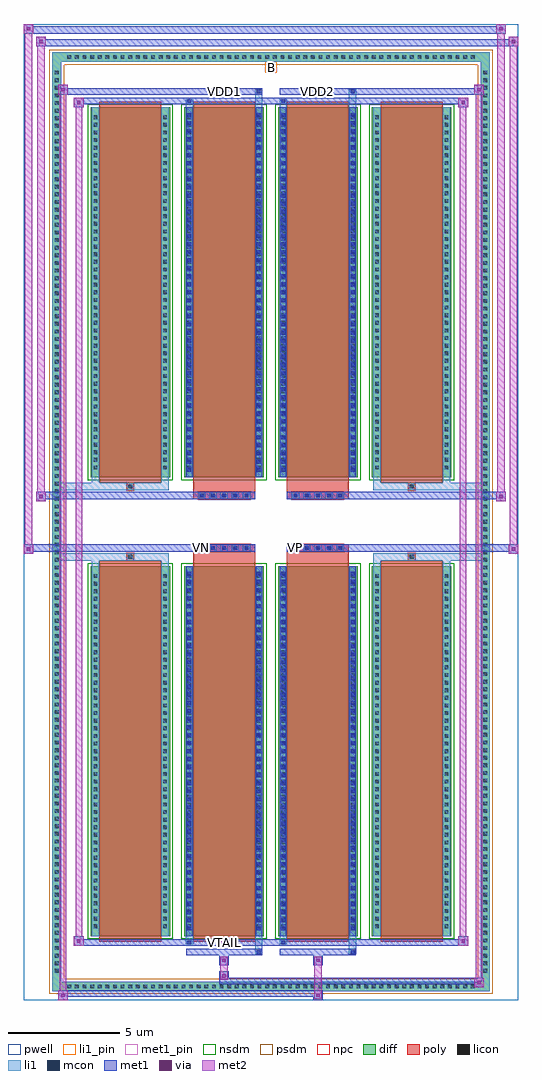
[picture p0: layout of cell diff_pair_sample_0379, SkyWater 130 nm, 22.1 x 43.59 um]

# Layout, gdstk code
import gdstk
lib = gdstk.Library(unit=1e-6, precision=5e-09)
def R(c, l, rs):  # rectangles x0, y0, x1, y1
    for r in rs: c.add(gdstk.rectangle(r[:2], r[2:], *l))
def A(c, l, x, y, w, h, nx, ny, dx, dy):  # array of equal rectangles
    R(c, l, [(x+i*dx, y+j*dy, x+i*dx+w, y+j*dy+h) for i in range(nx) for j in range(ny)])
def P(c, l, *ps):  # polygons
    for p in ps: c.add(gdstk.Polygon(p, *l))
pwell = (64, 44)
diff = (65, 20)
poly = (66, 20)
licon = (66, 44)
li1_pin = (67, 16)
li1 = (67, 20)
mcon = (67, 44)
met1_pin = (68, 16)
met1 = (68, 20)
via = (68, 44)
met2 = (69, 20)
nsdm = (93, 44)
psdm = (94, 20)
npc = (95, 20)

diff_pair_sample_0379 = lib.new_cell('diff_pair_sample_0379')
R(diff_pair_sample_0379, pwell, [(-11.05,-21.36,11.05,22.23), (-8.37,-19.55,-0.01,-0.805), (0.01,-19.55,8.37,-0.805), (-8.37,0.805,-0.01,19.55), (0.01,0.805,8.37,19.55)])
A(diff_pair_sample_0379, diff, -9.215, -20.96, 0.41, 0.41, 54, 2, 0.34, 41.51)
A(diff_pair_sample_0379, diff, -9.78, -20.265, 0.41, 0.41, 1, 119, 0, 0.34)
A(diff_pair_sample_0379, diff, 9.37, -20.265, 0.41, 0.41, 1, 119, 0, 0.34)
A(diff_pair_sample_0379, diff, -8.06, -18.505, 3.55, 16.52, 4, 2, 4.19, 20.49)
R(diff_pair_sample_0379, diff, [(-9.215,-20.96,9.215,-20.55), (-9.78,-20.265,-9.37,20.265), (9.37,-20.265,9.78,20.265), (-9.215,20.55,9.215,20.96)])
P(diff_pair_sample_0379, diff, [(9.78,20.96),(-9.78,20.96),(-9.78,-20.55),(-9.37,-20.55),(-9.37,20.55),(9.37,20.55),(9.37,-20.55),(-9.37,-20.55),(-9.78,-20.55),(-9.78,-20.96),(9.78,-20.96)])
A(diff_pair_sample_0379, poly, -7.67, -18.755, 2.77, 17.02, 4, 2, 4.19, 20.49)
A(diff_pair_sample_0379, poly, -3.26, -1.335, 0.33, 0.33, 5, 2, 0.5, 2.34)
A(diff_pair_sample_0379, poly, 0.93, -1.335, 0.33, 0.33, 5, 2, 0.5, 2.34)
R(diff_pair_sample_0379, poly, [(-6.45,-1.735,-6.12,-1.405), (-6.45,-1.735,-6.12,-1.405), (-3.48,-1.735,-0.71,-1.335), (0.71,-1.735,3.48,-1.335), (6.12,-1.735,6.45,-1.405), (6.12,-1.735,6.45,-1.405), (-3.48,-1.335,-0.71,-1.005), (0.71,-1.335,3.48,-1.005), (-3.48,1.005,-0.71,1.335), (0.71,1.005,3.48,1.335), (-3.48,1.335,-0.71,1.735), (0.71,1.335,3.48,1.735), (-6.45,1.405,-6.12,1.735), (-6.45,1.405,-6.12,1.735), (6.12,1.405,6.45,1.735), (6.12,1.405,6.45,1.735)])
A(diff_pair_sample_0379, licon, -9.095, -20.84, 0.17, 0.17, 54, 2, 0.34, 41.51)
A(diff_pair_sample_0379, licon, -9.66, -20.145, 0.17, 0.17, 1, 119, 0, 0.34)
A(diff_pair_sample_0379, licon, 9.49, -20.145, 0.17, 0.17, 1, 119, 0, 0.34)
A(diff_pair_sample_0379, licon, -7.92, -18.15, 0.17, 0.17, 1, 47, 0, 0.34)
A(diff_pair_sample_0379, licon, -4.82, -18.15, 0.17, 0.17, 1, 47, 0, 0.34)
A(diff_pair_sample_0379, licon, -3.73, -18.15, 0.17, 0.17, 1, 47, 0, 0.34)
A(diff_pair_sample_0379, licon, -0.63, -18.15, 0.17, 0.17, 1, 47, 0, 0.34)
A(diff_pair_sample_0379, licon, 0.46, -18.15, 0.17, 0.17, 1, 47, 0, 0.34)
A(diff_pair_sample_0379, licon, 3.56, -18.15, 0.17, 0.17, 1, 47, 0, 0.34)
A(diff_pair_sample_0379, licon, 4.65, -18.15, 0.17, 0.17, 1, 47, 0, 0.34)
A(diff_pair_sample_0379, licon, 7.75, -18.15, 0.17, 0.17, 1, 47, 0, 0.34)
A(diff_pair_sample_0379, licon, -3.18, -1.255, 0.17, 0.17, 5, 2, 0.5, 2.34)
A(diff_pair_sample_0379, licon, 1.01, -1.255, 0.17, 0.17, 5, 2, 0.5, 2.34)
A(diff_pair_sample_0379, licon, -7.92, 2.34, 0.17, 0.17, 1, 47, 0, 0.34)
A(diff_pair_sample_0379, licon, -4.82, 2.34, 0.17, 0.17, 1, 47, 0, 0.34)
A(diff_pair_sample_0379, licon, -3.73, 2.34, 0.17, 0.17, 1, 47, 0, 0.34)
A(diff_pair_sample_0379, licon, -0.63, 2.34, 0.17, 0.17, 1, 47, 0, 0.34)
A(diff_pair_sample_0379, licon, 0.46, 2.34, 0.17, 0.17, 1, 47, 0, 0.34)
A(diff_pair_sample_0379, licon, 3.56, 2.34, 0.17, 0.17, 1, 47, 0, 0.34)
A(diff_pair_sample_0379, licon, 4.65, 2.34, 0.17, 0.17, 1, 47, 0, 0.34)
A(diff_pair_sample_0379, licon, 7.75, 2.34, 0.17, 0.17, 1, 47, 0, 0.34)
R(diff_pair_sample_0379, licon, [(-6.37,-1.655,-6.2,-1.485), (6.2,-1.655,6.37,-1.485), (-6.37,1.485,-6.2,1.655), (6.2,1.485,6.37,1.655)])
R(diff_pair_sample_0379, li1_pin, [(-0.25,20.05,0.25,20.55)])
A(diff_pair_sample_0379, li1, -9.175, -20.92, 0.33, 0.33, 54, 2, 0.34, 41.51)
A(diff_pair_sample_0379, li1, -9.74, -20.225, 0.33, 0.33, 1, 119, 0, 0.34)
A(diff_pair_sample_0379, li1, 9.41, -20.225, 0.33, 0.33, 1, 119, 0, 0.34)
A(diff_pair_sample_0379, li1, -3.73, -18.25, 0.17, 0.17, 1, 45, 0, 0.36)
A(diff_pair_sample_0379, li1, -0.63, -18.25, 0.17, 0.17, 1, 45, 0, 0.36)
A(diff_pair_sample_0379, li1, 0.46, -18.25, 0.17, 0.17, 1, 45, 0, 0.36)
A(diff_pair_sample_0379, li1, 3.56, -18.25, 0.17, 0.17, 1, 45, 0, 0.36)
A(diff_pair_sample_0379, li1, -8, -18.23, 0.33, 0.33, 1, 47, 0, 0.34)
A(diff_pair_sample_0379, li1, -4.9, -18.23, 0.33, 0.33, 1, 47, 0, 0.34)
A(diff_pair_sample_0379, li1, -3.81, -18.23, 0.33, 0.33, 1, 47, 0, 0.34)
A(diff_pair_sample_0379, li1, -0.71, -18.23, 0.33, 0.33, 1, 47, 0, 0.34)
A(diff_pair_sample_0379, li1, 0.38, -18.23, 0.33, 0.33, 1, 47, 0, 0.34)
A(diff_pair_sample_0379, li1, 3.48, -18.23, 0.33, 0.33, 1, 47, 0, 0.34)
A(diff_pair_sample_0379, li1, 4.57, -18.23, 0.33, 0.33, 1, 47, 0, 0.34)
A(diff_pair_sample_0379, li1, 7.67, -18.23, 0.33, 0.33, 1, 47, 0, 0.34)
A(diff_pair_sample_0379, li1, -3.26, -1.335, 0.33, 0.33, 5, 2, 0.5, 2.34)
A(diff_pair_sample_0379, li1, 0.93, -1.335, 0.33, 0.33, 5, 2, 0.5, 2.34)
A(diff_pair_sample_0379, li1, -3.73, 2.24, 0.17, 0.17, 1, 45, 0, 0.36)
A(diff_pair_sample_0379, li1, -0.63, 2.24, 0.17, 0.17, 1, 45, 0, 0.36)
A(diff_pair_sample_0379, li1, 0.46, 2.24, 0.17, 0.17, 1, 45, 0, 0.36)
A(diff_pair_sample_0379, li1, 3.56, 2.24, 0.17, 0.17, 1, 45, 0, 0.36)
A(diff_pair_sample_0379, li1, -8, 2.26, 0.33, 0.33, 1, 47, 0, 0.34)
A(diff_pair_sample_0379, li1, -4.9, 2.26, 0.33, 0.33, 1, 47, 0, 0.34)
A(diff_pair_sample_0379, li1, -3.81, 2.26, 0.33, 0.33, 1, 47, 0, 0.34)
A(diff_pair_sample_0379, li1, -0.71, 2.26, 0.33, 0.33, 1, 47, 0, 0.34)
A(diff_pair_sample_0379, li1, 0.38, 2.26, 0.33, 0.33, 1, 47, 0, 0.34)
A(diff_pair_sample_0379, li1, 3.48, 2.26, 0.33, 0.33, 1, 47, 0, 0.34)
A(diff_pair_sample_0379, li1, 4.57, 2.26, 0.33, 0.33, 1, 47, 0, 0.34)
A(diff_pair_sample_0379, li1, 7.67, 2.26, 0.33, 0.33, 1, 47, 0, 0.34)
R(diff_pair_sample_0379, li1, [(-9.78,-20.96,-9.37,-20.55), (-9.78,-20.96,-9.37,-20.55), (-9.37,-20.96,9.37,-20.55), (9.37,-20.96,9.78,-20.55), (9.37,-20.96,9.78,-20.55), (-9.78,-20.55,-9.37,20.55), (9.37,-20.55,9.78,20.55), (-0.71,-19.31,-0.38,-18.505), (-0.63,-19.31,-0.46,-19.14), (3.48,-19.31,3.81,-18.505), (3.56,-19.31,3.73,-19.14), (-3.81,-18.88,-3.48,-18.505), (-3.73,-18.88,-3.56,-18.71), (0.38,-18.88,0.71,-18.505), (0.46,-18.88,0.63,-18.71), (-8,-18.505,-7.67,-1.985), (-4.9,-18.505,-4.57,-1.985), (-3.81,-18.505,-3.48,-1.985), (-0.71,-18.505,-0.38,-1.985), (0.38,-18.505,0.71,-1.985), (3.48,-18.505,3.81,-1.985), (4.57,-18.505,4.9,-1.985), (7.67,-18.505,8,-1.985), (-3.73,-18.25,-3.56,-2.24), (-0.63,-18.25,-0.46,-2.24), (0.46,-18.25,0.63,-2.24), (3.56,-18.25,3.73,-2.24), (-8,-1.985,-7.67,-1.405), (-4.9,-1.985,-4.57,-1.405), (4.57,-1.985,4.9,-1.405), (7.67,-1.985,8,-1.405), (-9.78,-1.735,-6.45,-1.405), (-8,-1.735,-6.45,-1.405), (-6.45,-1.735,-6.12,-1.405), (-6.12,-1.735,-4.57,-1.405), (4.57,-1.735,6.12,-1.405), (6.12,-1.735,6.45,-1.405), (6.12,-1.735,9.78,-1.405), (6.45,-1.735,8,-1.405), (-9.78,1.405,-6.45,1.735), (-8,1.405,-6.45,1.735), (-8,1.405,-7.67,1.985), (-6.45,1.405,-6.12,1.735), (-6.12,1.405,-4.57,1.735), (-4.9,1.405,-4.57,1.985), (4.57,1.405,6.12,1.735), (4.57,1.405,4.9,1.985), (6.12,1.405,6.45,1.735), (6.12,1.405,9.78,1.735), (6.45,1.405,8,1.735), (7.67,1.405,8,1.985), (-8,1.985,-7.67,18.505), (-4.9,1.985,-4.57,18.505), (-3.81,1.985,-3.48,18.505), (-0.71,1.985,-0.38,18.505), (0.38,1.985,0.71,18.505), (3.48,1.985,3.81,18.505), (4.57,1.985,4.9,18.505), (7.67,1.985,8,18.505), (-3.73,2.24,-3.56,18.25), (-0.63,2.24,-0.46,18.25), (0.46,2.24,0.63,18.25), (3.56,2.24,3.73,18.25), (-3.81,18.505,-3.48,18.88), (-0.71,18.505,-0.38,19.31), (0.38,18.505,0.71,18.88), (3.48,18.505,3.81,19.31), (-3.73,18.71,-3.56,18.88), (0.46,18.71,0.63,18.88), (-0.63,19.14,-0.46,19.31), (3.56,19.14,3.73,19.31), (-9.78,20.55,-9.37,20.96), (-9.78,20.55,-9.37,20.96), (-9.37,20.55,9.37,20.96), (9.37,20.55,9.78,20.96), (9.37,20.55,9.78,20.96)])
A(diff_pair_sample_0379, mcon, -3.73, -18.25, 0.17, 0.17, 1, 45, 0, 0.36)
A(diff_pair_sample_0379, mcon, -0.63, -18.25, 0.17, 0.17, 1, 45, 0, 0.36)
A(diff_pair_sample_0379, mcon, 0.46, -18.25, 0.17, 0.17, 1, 45, 0, 0.36)
A(diff_pair_sample_0379, mcon, 3.56, -18.25, 0.17, 0.17, 1, 45, 0, 0.36)
A(diff_pair_sample_0379, mcon, -3.18, -1.255, 0.17, 0.17, 5, 2, 0.5, 2.34)
A(diff_pair_sample_0379, mcon, 1.01, -1.255, 0.17, 0.17, 5, 2, 0.5, 2.34)
A(diff_pair_sample_0379, mcon, -3.73, 2.24, 0.17, 0.17, 1, 45, 0, 0.36)
A(diff_pair_sample_0379, mcon, -0.63, 2.24, 0.17, 0.17, 1, 45, 0, 0.36)
A(diff_pair_sample_0379, mcon, 0.46, 2.24, 0.17, 0.17, 1, 45, 0, 0.36)
A(diff_pair_sample_0379, mcon, 3.56, 2.24, 0.17, 0.17, 1, 45, 0, 0.36)
R(diff_pair_sample_0379, mcon, [(-0.63,-19.31,-0.46,-19.14), (3.56,-19.31,3.73,-19.14), (-3.73,-18.88,-3.56,-18.71), (0.46,-18.88,0.63,-18.71), (-3.73,18.71,-3.56,18.88), (0.46,18.71,0.63,18.88), (-0.63,19.14,-0.46,19.31), (3.56,19.14,3.73,19.31)])
R(diff_pair_sample_0379, met1_pin, [(-2.23,-18.92,-1.96,-18.65), (-3.23,-1.295,-2.96,-1.025), (0.96,-1.295,1.23,-1.025), (-2.23,19.1,-1.96,19.37), (1.96,19.1,2.23,19.37)])
A(diff_pair_sample_0379, met1, -3.79, -18.31, 0.29, 0.29, 1, 45, 0, 0.36)
A(diff_pair_sample_0379, met1, -0.69, -18.31, 0.29, 0.29, 1, 45, 0, 0.36)
A(diff_pair_sample_0379, met1, 0.4, -18.31, 0.29, 0.29, 1, 45, 0, 0.36)
A(diff_pair_sample_0379, met1, 3.5, -18.31, 0.29, 0.29, 1, 45, 0, 0.36)
A(diff_pair_sample_0379, met1, -3.24, -1.315, 0.29, 0.29, 5, 2, 0.5, 2.34)
A(diff_pair_sample_0379, met1, 0.95, -1.315, 0.29, 0.29, 5, 2, 0.5, 2.34)
A(diff_pair_sample_0379, met1, -3.79, 2.18, 0.29, 0.29, 1, 45, 0, 0.36)
A(diff_pair_sample_0379, met1, -0.69, 2.18, 0.29, 0.29, 1, 45, 0, 0.36)
A(diff_pair_sample_0379, met1, 0.4, 2.18, 0.29, 0.29, 1, 45, 0, 0.36)
A(diff_pair_sample_0379, met1, 3.5, 2.18, 0.29, 0.29, 1, 45, 0, 0.36)
R(diff_pair_sample_0379, met1, [(-9.51,-21.36,-9.08,-20.93), (1.88,-21.36,2.31,-20.93), (-9.51,-21.22,2.31,-20.93), (9.08,-20.79,9.51,-20.36), (-2.31,-20.65,9.51,-20.36), (-2.31,-20.51,-1.88,-20.08), (-2.31,-19.8,-1.88,-19.37), (1.88,-19.8,2.31,-19.37), (-3.79,-19.37,-0.4,-19.08), (-0.69,-19.37,-0.4,-19.08), (0.4,-19.37,3.79,-19.08), (3.5,-19.37,3.79,-19.08), (-8.8,-18.94,-8.37,-18.51), (-8.8,-18.94,-3.79,-18.65), (-3.79,-18.94,-3.5,-18.65), (-3.79,-18.94,-0.4,-18.65), (-0.4,-18.94,0.4,-18.65), (0.4,-18.94,0.69,-18.65), (0.4,-18.94,3.79,-18.65), (3.79,-18.94,8.8,-18.65), (8.37,-18.94,8.8,-18.51), (-3.79,-18.505,-3.5,-1.985), (-0.69,-18.505,-0.4,-1.985), (0.4,-18.505,0.69,-1.985), (3.5,-18.505,3.79,-1.985), (-11.05,-1.435,-10.62,-1.005), (10.62,-1.435,11.05,-1.005), (-11.05,-1.335,-0.71,-1.005), (-3.48,-1.335,-0.71,-1.005), (0.71,-1.335,3.48,-1.005), (0.71,-1.335,11.05,-1.005), (-10.48,0.905,-10.05,1.335), (10.05,0.905,10.48,1.335), (-10.48,1.005,-3.48,1.335), (-3.48,1.005,-0.71,1.335), (0.71,1.005,3.48,1.335), (3.48,1.005,10.48,1.335), (-3.79,1.985,-3.5,18.505), (-0.69,1.985,-0.4,18.505), (0.4,1.985,0.69,18.505), (3.5,1.985,3.79,18.505), (-8.8,18.51,-8.37,18.94), (8.37,18.51,8.8,18.94), (-8.8,18.65,-3.79,18.94), (-3.79,18.65,-3.5,18.94), (-3.79,18.65,-0.4,18.94), (-0.4,18.65,0.4,18.94), (0.4,18.65,0.69,18.94), (0.4,18.65,3.79,18.94), (3.79,18.65,8.8,18.94), (-9.51,19.08,-9.08,19.51), (-9.51,19.08,-3.79,19.37), (-3.79,19.08,-0.4,19.37), (-0.69,19.08,-0.4,19.37), (0.4,19.08,3.79,19.37), (3.5,19.08,3.79,19.37), (3.79,19.08,9.51,19.37), (9.08,19.08,9.51,19.51), (-10.48,21.23,-10.05,21.66), (-10.48,21.23,-8.37,21.56), (-8.37,21.23,8.37,21.56), (8.37,21.23,11.05,21.56), (10.62,21.23,11.05,21.66), (-11.05,21.8,-10.62,22.23), (-11.05,21.8,-8.37,22.13), (-8.37,21.8,8.37,22.13), (8.37,21.8,10.48,22.13), (10.05,21.8,10.48,22.23)])
R(diff_pair_sample_0379, via, [(-9.37,-21.22,-9.22,-21.07), (2.02,-21.22,2.17,-21.07), (9.22,-20.65,9.37,-20.5), (-2.17,-20.37,-2.02,-20.22), (-2.17,-19.66,-2.02,-19.51), (2.02,-19.66,2.17,-19.51), (-8.66,-18.8,-8.51,-18.65), (8.51,-18.8,8.66,-18.65), (-10.91,-1.295,-10.76,-1.145), (10.76,-1.295,10.91,-1.145), (-10.34,1.045,-10.19,1.195), (10.19,1.045,10.34,1.195), (-8.66,18.65,-8.51,18.8), (8.51,18.65,8.66,18.8), (-9.37,19.22,-9.22,19.37), (9.22,19.22,9.37,19.37), (-10.34,21.37,-10.19,21.52), (10.76,21.37,10.91,21.52), (-10.91,21.94,-10.76,22.09), (10.19,21.94,10.34,22.09)])
R(diff_pair_sample_0379, met2, [(-9.51,-21.36,-9.08,-20.93), (-9.44,-21.36,-9.15,19.51), (-9.15,-21.36,-9.08,-20.93), (-9.46,-21.31,-9.13,-20.98), (1.93,-21.31,2.26,-20.98), (1.93,-20.98,2.26,-19.75), (9.08,-20.79,9.51,-20.36), (9.15,-20.79,9.44,19.51), (9.44,-20.79,9.51,-20.36), (9.13,-20.74,9.46,-20.41), (-2.26,-20.46,-1.93,-20.13), (-2.26,-20.13,-1.93,-19.75), (-2.26,-19.75,-1.93,-19.42), (1.93,-19.75,2.26,-19.42), (-8.8,-18.94,-8.37,-18.51), (-8.73,-18.94,-8.44,18.94), (-8.44,-18.94,-8.37,-18.51), (8.37,-18.94,8.8,-18.51), (8.44,-18.94,8.73,18.94), (8.73,-18.94,8.8,-18.51), (-8.75,-18.89,-8.42,-18.56), (8.42,-18.89,8.75,-18.56), (-11.05,-1.435,-10.62,-1.005), (-11,-1.435,-10.67,22.23), (-10.67,-1.435,-10.62,-1.005), (10.62,-1.435,11.05,-1.005), (10.67,-1.435,11,21.66), (11,-1.435,11.05,-1.005), (-11,-1.385,-10.67,-1.055), (10.67,-1.385,11,-1.055), (-10.48,0.905,-10.05,1.335), (-10.43,0.905,-10.1,21.66), (-10.1,0.905,-10.05,1.335), (10.05,0.905,10.48,1.335), (10.1,0.905,10.43,22.23), (10.43,0.905,10.48,1.335), (-10.43,0.955,-10.1,1.285), (10.1,0.955,10.43,1.285), (-8.8,18.51,-8.37,18.94), (-8.44,18.51,-8.37,18.94), (8.37,18.51,8.8,18.94), (8.73,18.51,8.8,18.94), (-8.75,18.56,-8.42,18.89), (8.42,18.56,8.75,18.89), (-9.51,19.08,-9.08,19.51), (-9.15,19.08,-9.08,19.51), (9.08,19.08,9.51,19.51), (9.44,19.08,9.51,19.51), (-9.46,19.13,-9.13,19.46), (9.13,19.13,9.46,19.46), (-10.48,21.23,-10.05,21.66), (-10.1,21.23,-10.05,21.66), (10.62,21.23,11.05,21.66), (11,21.23,11.05,21.66), (-10.43,21.28,-10.1,21.61), (10.67,21.28,11,21.61), (-11.05,21.8,-10.62,22.23), (-10.67,21.8,-10.62,22.23), (10.05,21.8,10.48,22.23), (10.43,21.8,10.48,22.23), (-11,21.85,-10.67,22.18), (10.1,21.85,10.43,22.18)])
A(diff_pair_sample_0379, nsdm, -8.19, -18.635, 3.81, 16.78, 4, 2, 4.19, 20.49)
P(diff_pair_sample_0379, psdm, [(9.91,21.09),(-9.91,21.09),(-9.91,-20.42),(-9.24,-20.42),(-9.24,20.42),(9.24,20.42),(9.24,-20.42),(-9.24,-20.42),(-9.91,-20.42),(-9.91,-21.09),(9.91,-21.09)])
A(diff_pair_sample_0379, npc, -3.28, -1.355, 0.37, 0.37, 5, 2, 0.5, 2.34)
A(diff_pair_sample_0379, npc, 0.91, -1.355, 0.37, 0.37, 5, 2, 0.5, 2.34)
R(diff_pair_sample_0379, npc, [(-6.47,-1.755,-6.1,-1.385), (6.1,-1.755,6.47,-1.385), (-3.28,-1.355,-2.41,-0.985), (-3.28,-1.355,-2.41,-0.985), (-2.78,-1.355,-1.91,-0.985), (-2.78,-1.355,-1.91,-0.985), (-2.28,-1.355,-1.41,-0.985), (-2.28,-1.355,-1.41,-0.985), (-1.78,-1.355,-0.91,-0.985), (-1.78,-1.355,-0.91,-0.985), (0.91,-1.355,1.78,-0.985), (0.91,-1.355,1.78,-0.985), (1.41,-1.355,2.28,-0.985), (1.41,-1.355,2.28,-0.985), (1.91,-1.355,2.78,-0.985), (1.91,-1.355,2.78,-0.985), (2.41,-1.355,3.28,-0.985), (2.41,-1.355,3.28,-0.985), (-3.28,0.985,-2.41,1.355), (-3.28,0.985,-2.41,1.355), (-2.78,0.985,-1.91,1.355), (-2.78,0.985,-1.91,1.355), (-2.28,0.985,-1.41,1.355), (-2.28,0.985,-1.41,1.355), (-1.78,0.985,-0.91,1.355), (-1.78,0.985,-0.91,1.355), (0.91,0.985,1.78,1.355), (0.91,0.985,1.78,1.355), (1.41,0.985,2.28,1.355), (1.41,0.985,2.28,1.355), (1.91,0.985,2.78,1.355), (1.91,0.985,2.78,1.355), (2.41,0.985,3.28,1.355), (2.41,0.985,3.28,1.355), (-6.47,1.385,-6.1,1.755), (6.1,1.385,6.47,1.755)])
diff_pair_sample_0379.add(gdstk.Label('VTAIL', (-2.095,-18.785), layer=68, texttype=5))
diff_pair_sample_0379.add(gdstk.Label('VN', (-3.095,-1.16), layer=68, texttype=5))
diff_pair_sample_0379.add(gdstk.Label('VP', (1.095,-1.16), layer=68, texttype=5))
diff_pair_sample_0379.add(gdstk.Label('B', (0,20.3), layer=67, texttype=5))
diff_pair_sample_0379.add(gdstk.Label('VDD2', (2.095,19.235), layer=68, texttype=5))
diff_pair_sample_0379.add(gdstk.Label('VDD1', (-2.095,19.235), layer=68, texttype=5))

lib.write_gds('diff_pair_sample_0379.gds')
